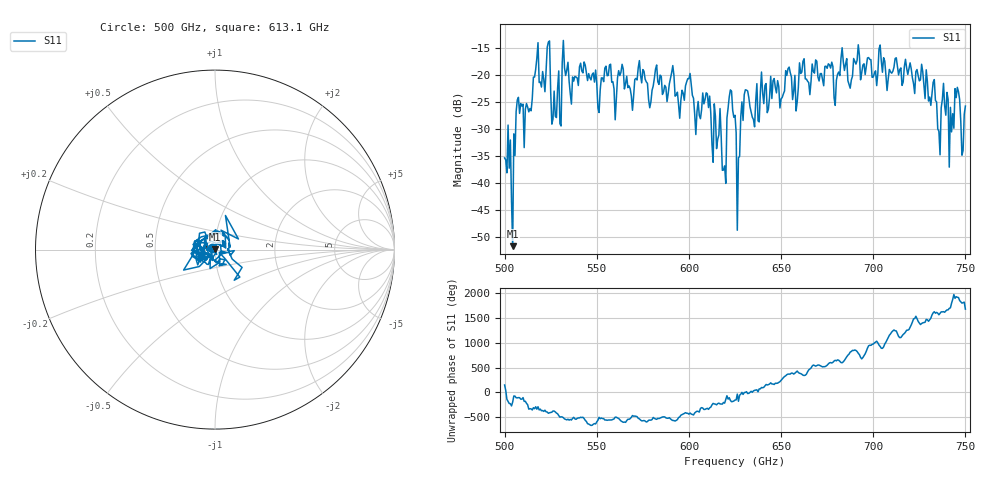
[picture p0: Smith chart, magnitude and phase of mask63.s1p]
!Created with skrf (http://scikit-rf.org).
# GHz S MA R 50.0
!freq magS11 angS11
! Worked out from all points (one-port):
!   401 points, 500 GHz to 750 GHz, reference 50 ohm
!   lowest |S11| = -51.6 dB at 504.4 GHz (marker M1), VSWR 1.01, Z = 49.7 + j0.0606 ohm
!   |S11| at or under -10 dB: start of sweep to end of sweep
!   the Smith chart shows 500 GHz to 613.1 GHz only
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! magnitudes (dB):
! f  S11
! 500 GHz  -35.3
! 504.4 GHz  -51.6
! 507.5 GHz  -24.1
! 511.9 GHz  -25.3
! 516.9 GHz  -18.9
! 523.8 GHz  -13.9
! 526.9 GHz  -23.0
! 531.2 GHz  -17.8
! 562.5 GHz  -20.1
! 579.4 GHz  -25.0
! 590.6 GHz  -19.6
! 593.8 GHz  -23.2
! 610 GHz  -23.5
! 618.8 GHz  -37.6
! 622.5 GHz  -22.8
! 625 GHz  -27.5
! 626.9 GHz  -35.3
! 631.2 GHz  -22.8
! 634.4 GHz  -27.8
! 656.2 GHz  -24.5
! 687.5 GHz  -22.4
! 718.8 GHz  -19.9
! 733.1 GHz  -20.9
! 735.6 GHz  -30.4
! 739.4 GHz  -27.4
! 742.5 GHz  -30.5
! 745.6 GHz  -22.3
! 750 GHz  -25.7
